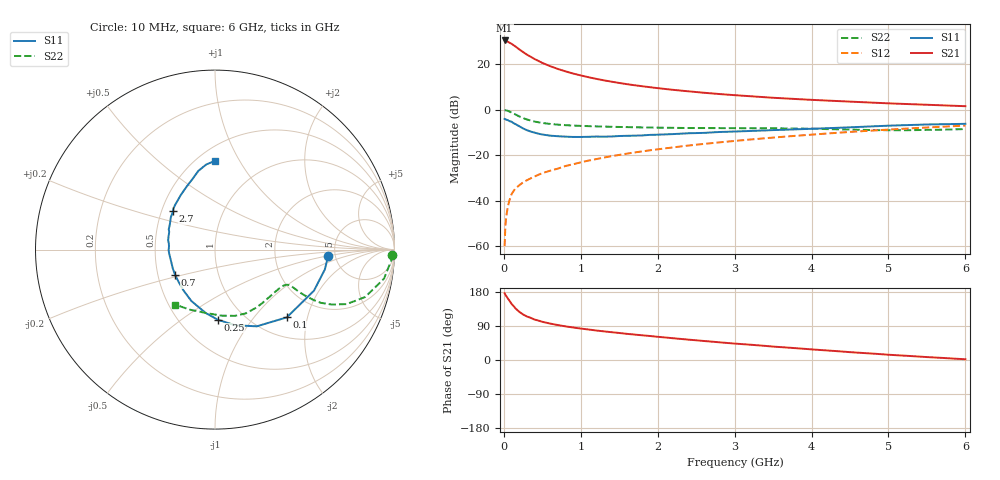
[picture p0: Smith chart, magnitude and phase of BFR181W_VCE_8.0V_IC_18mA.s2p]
! Infineon Technologies  Discrete & RF Semiconductors
! BFR181W
! VCE =  8.0 V,  IC =  18 mA
! Common Emitter S-Parameters:  Jan 2017
# GHz  S  MA  R  50
!  f  S11  S21  S12  S22
! GHz  MAG  ANG  MAG  ANG  MAG  ANG  MAG  ANG
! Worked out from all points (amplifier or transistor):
!   77 points, 10 MHz to 6 GHz, reference 50 ohm
!   highest |S21| = 30.6 dB at 10 MHz (marker M1)
!   |S21| within 3 dB of that: start of sweep to 164.6 MHz
!   unconditionally stable (mu >= 1): 830.8 MHz to 2.531 GHz
!   at 130 MHz: K = 0.37, MSG = 32.0 dB, |S12| = -35.5 dB
!   at 2.2 GHz: K = 1.02, MAG = 11.7 dB, |S12| = -16.5 dB
!   at 6 GHz: K = 0.83, MSG = 4.3 dB, |S12| = -6.9 dB
!   S11 on the Smith chart (normalised r, x): 10 MHz: 4.35, -0.54; 100 MHz: 1.39, -1.50; 250 MHz: 0.75, -0.70; 700 MHz: 0.61, -0.19; 2.7 GHz: 0.57, +0.27; 6 GHz: 0.61, +0.79
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0.01  0.6314 -3.4  33.71 176.2  0.001 83.7  0.9845 -1.6
0.02  0.6218 -10.3  33.33 172.2  0.0028 91.7  0.9836 -3.6
0.05  0.5969 -22.6  31.86 162.9  0.007 78.1  0.9558 -9.7
0.1  0.5501 -43.3  28.56 148.1  0.0139 75.5  0.8781 -17.5
0.15  0.487 -61.4  24.92 136.5  0.0186 68.3  0.7933 -22.5
0.2  0.4359 -75.2  21.49 127.2  0.0219 66.8  0.7188 -25.2
0.25  0.3907 -87.8  18.74 120.2  0.0254 64.9  0.6601 -26.7
0.3  0.3571 -98.3  16.42 114.8  0.0283 64.7  0.6137 -27.1
0.4  0.3151 -114.7  13.12 106.7  0.0341 65.9  0.5525 -27.0
0.5  0.287 -127.9  10.81 100.8  0.0405 67.2  0.5147 -26.5
0.6  0.2708 -138.6  9.194 96.2  0.0457 67.3  0.4907 -26.0
0.7  0.2631 -147.7  7.975 92.3  0.0508 70.3  0.4734 -25.6
0.9  0.2536 -162.8  6.307 85.8  0.0635 70.6  0.4517 -25.8
1.1  0.2555 -173.8  5.234 80.5  0.0765 71.5  0.4385 -26.8
1.3  0.2569 176.2  4.467 75.6  0.0891 71.6  0.4289 -28.2
1.5  0.2657 169.0  3.91 71.3  0.102 71.5  0.4206 -30.4
2.1  0.2885 150.8  2.881 59.4  0.1423 69.9  0.404 -39.0
2.7  0.3185 137.4  2.306 48.5  0.1852 67.0  0.3972 -49.9
3.1  0.3382 129.6  2.052 41.9  0.2147 64.5  0.3949 -57.2
4.1  0.389 113.1  1.632 26.6  0.2932 57.4  0.3809 -75.6
5.1  0.4543 100.5  1.372 12.7  0.3761 48.7  0.3561 -101.2
6  0.4932 90.2  1.205 1.9  0.4513 39.6  0.3784 -126.0
